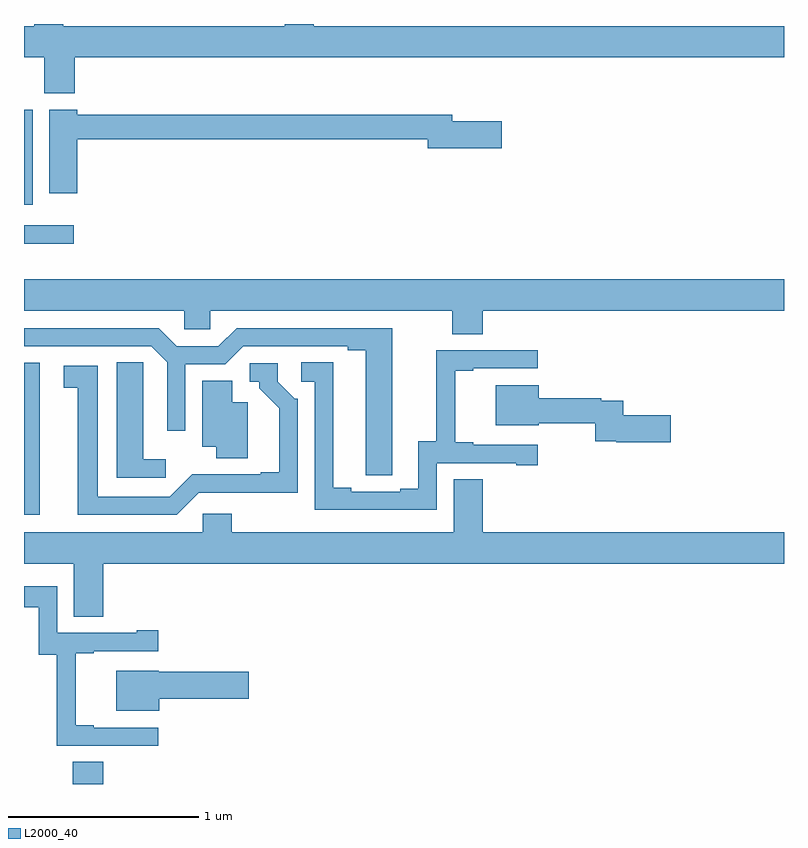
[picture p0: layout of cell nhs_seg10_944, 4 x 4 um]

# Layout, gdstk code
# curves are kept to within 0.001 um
import gdstk
lib = gdstk.Library(unit=1e-6, precision=1e-09)
def R(c, l, rs):  # rectangles x0, y0, x1, y1
    for r in rs: c.add(gdstk.rectangle(r[:2], r[2:], *l))
def P(c, l, *ps):  # polygons
    for p in ps: c.add(gdstk.Polygon(p, *l))
L2000_40 = (2000, 40)

nhs_seg10_944 = lib.new_cell('nhs_seg10_944')
R(nhs_seg10_944, L2000_40, [(159.256,1288.5,159.416,1288.616), (159,1289.916,159.082,1290.718), (159,1291.344,159.262,1291.44), (159,1291.55,159.046,1292.05)])
P(nhs_seg10_944, L2000_40, [(159.266,1292.324),(163,1292.324),(163,1292.488),(160.526,1292.488),(160.526,1292.5),(160.373,1292.5),(160.373,1292.488),(159.206,1292.488),(159.206,1292.5),(159.054,1292.5),(159.054,1292.488),(159,1292.488),(159,1292.324),(159.106,1292.324),(159.106,1292.135),(159.266,1292.135)],
  [(159.281,1291.894),(161.126,1291.894),(161.126,1291.847),(161.515,1291.847),(161.515,1291.989),(161.254,1291.989),(161.254,1292.023),(159.281,1292.023),(159.281,1292.05),(159.134,1292.05),(159.134,1291.608),(159.281,1291.608)],
  [(161.414,1290.992),(163,1290.992),(163,1291.156),(159,1291.156),(159,1290.992),(159.843,1290.992),(159.843,1290.894),(159.981,1290.894),(159.981,1290.992),(161.254,1290.992),(161.254,1290.868),(161.414,1290.868)],
  [(160.938,1290.232),(160.939,1290.9),(160.119,1290.9),(160.023,1290.804),(159.805,1290.804),(159.709,1290.9),(159,1290.9),(159,1290.804),(159.669,1290.804),(159.753,1290.72),(159.753,1290.36),(159.849,1290.36),(159.849,1290.708),(160.059,1290.708),(160.155,1290.804),(160.703,1290.804),(160.703,1290.784),(160.799,1290.784),(160.799,1290.124),(160.938,1290.124)],
  [(161.172,1290.189),(161.591,1290.189),(161.591,1290.177),(161.704,1290.177),(161.704,1290.285),(161.365,1290.285),(161.365,1290.298),(161.27,1290.298),(161.27,1290.675),(161.365,1290.675),(161.365,1290.687),(161.704,1290.687),(161.704,1290.783),(161.17,1290.783),(161.17,1290.305),(161.075,1290.305),(161.075,1290.054),(160.979,1290.054),(160.979,1290.039),(160.723,1290.039),(160.723,1290.059),(160.627,1290.059),(160.627,1290.719),(160.458,1290.719),(160.458,1290.618),(160.53,1290.618),(160.53,1289.943),(161.172,1289.943)],
  [(159.745,1290.208),(159.628,1290.208),(159.628,1290.611),(159.627,1290.611),(159.627,1290.719),(159.488,1290.719),(159.488,1290.111),(159.745,1290.111)],
  [(159.921,1290.033),(160.44,1290.032),(160.44,1290.528),(160.425,1290.528),(160.335,1290.618),(160.335,1290.714),(160.188,1290.714),(160.188,1290.618),(160.238,1290.618),(160.238,1290.583),(160.343,1290.478),(160.343,1290.142),(160.247,1290.142),(160.247,1290.129),(159.886,1290.13),(159.768,1290.012),(159.388,1290.012),(159.388,1290.702),(159.21,1290.702),(159.21,1290.586),(159.284,1290.586),(159.284,1289.916),(159.804,1289.916)],
  [(160.177,1290.508),(160.096,1290.508),(160.096,1290.623),(159.938,1290.623),(159.938,1290.275),(160.013,1290.275),(160.013,1290.214),(160.177,1290.214)],
  [(162.403,1290.44),(162.155,1290.44),(162.155,1290.516),(162.038,1290.516),(162.038,1290.529),(161.71,1290.529),(161.71,1290.598),(161.483,1290.598),(161.483,1290.389),(161.71,1290.389),(161.71,1290.4),(162.007,1290.4),(162.007,1290.305),(162.118,1290.305),(162.118,1290.298),(162.403,1290.298)],
  [(163,1289.824),(161.414,1289.824),(161.414,1290.104),(161.261,1290.104),(161.261,1289.824),(160.094,1289.824),(160.094,1289.922),(159.942,1289.922),(159.942,1289.824),(159,1289.824),(159,1289.66),(159.263,1289.66),(159.263,1289.38),(159.416,1289.38),(159.416,1289.66),(163,1289.66)],
  [(159.706,1288.797),(159.367,1288.797),(159.367,1288.81),(159.272,1288.81),(159.272,1289.187),(159.367,1289.187),(159.367,1289.199),(159.706,1289.199),(159.706,1289.308),(159.593,1289.308),(159.593,1289.295),(159.174,1289.295),(159.174,1289.541),(159,1289.541),(159,1289.43),(159.077,1289.43),(159.077,1289.179),(159.172,1289.179),(159.172,1288.701),(159.706,1288.701)],
  [(159.712,1288.948),(160.183,1288.948),(160.183,1289.09),(159.708,1289.09),(159.708,1289.095),(159.485,1289.095),(159.485,1288.886),(159.712,1288.886)])

lib.write_gds('nhs_seg10_944.gds')
